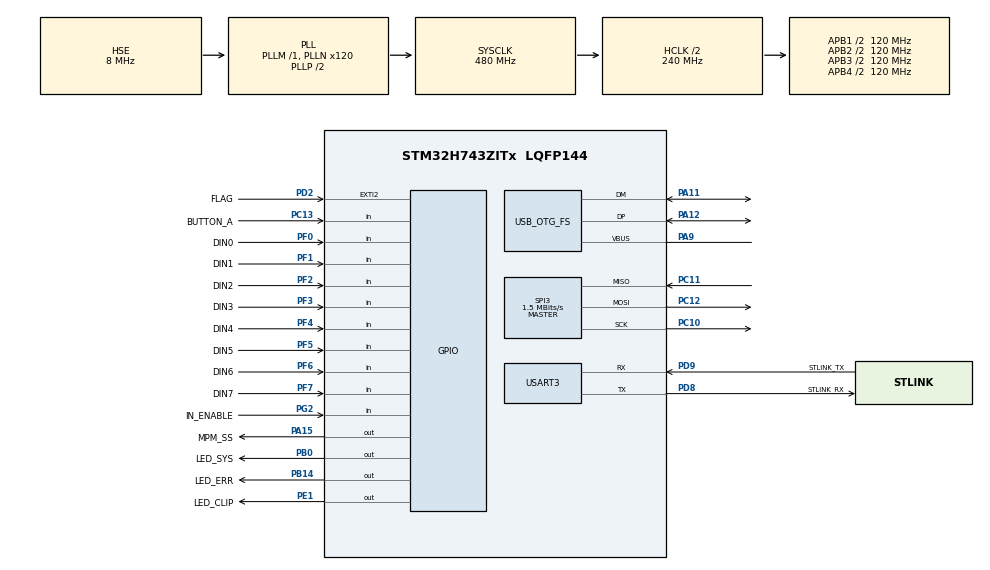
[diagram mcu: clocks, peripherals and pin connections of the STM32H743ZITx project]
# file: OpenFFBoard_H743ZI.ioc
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CORTEX_M7.CPU_DCache=Enabled
CORTEX_M7.CPU_ICache=Enabled
FREERTOS.Tasks01=defaultTask,16,1024,StartDefaultTask,As weak,NULL,Dynamic,NULL,NULL
FREERTOS.configCHECK_FOR_STACK_OVERFLOW=2
FREERTOS.configENABLE_FPU=1
FREERTOS.configGENERATE_RUN_TIME_STATS=0
FREERTOS.configRECORD_STACK_HIGH_ADDRESS=1
FREERTOS.configTOTAL_HEAP_SIZE=0xffff
FREERTOS.configUSE_IDLE_HOOK=1
FREERTOS.configUSE_MALLOC_FAILED_HOOK=1
FREERTOS.configUSE_NEWLIB_REENTRANT=1
Mcu.Family=STM32H7
Mcu.Name=STM32H743ZITx
Mcu.Package=LQFP144
NVIC.EXTI2_IRQn=true\:13\:0\:true\:false\:true\:true\:true\:true\:true
NVIC.OTG_FS_IRQn=true\:14\:0\:true\:false\:true\:true\:true\:false\:true
NVIC.PriorityGroup=NVIC_PRIORITYGROUP_4
NVIC.SPI3_IRQn=true\:5\:0\:false\:false\:true\:true\:true\:true\:true
NVIC.TIM7_IRQn=true\:4\:0\:true\:false\:true\:false\:false\:true\:true
NVIC.TimeBase=TIM7_IRQn
NVIC.TimeBaseIP=TIM7
NVIC.USART3_IRQn=true\:7\:0\:true\:false\:true\:true\:true\:true\:true
PA11.GPIO_Speed=GPIO_SPEED_FREQ_HIGH
PA11.Mode=Device_Only
PA11.Signal=USB_OTG_FS_DM
PA12.GPIO_Speed=GPIO_SPEED_FREQ_HIGH
PA12.Mode=Device_Only
PA12.Signal=USB_OTG_FS_DP
PA13\ (JTMS/SWDIO).Mode=Trace_Asynchronous_SW
PA13\ (JTMS/SWDIO).Signal=DEBUG_JTMS-SWDIO
PA14\ (JTCK/SWCLK).Mode=Trace_Asynchronous_SW
PA14\ (JTCK/SWCLK).Signal=DEBUG_JTCK-SWCLK
PA15\ (JTDI).GPIO_Label=MPM_SS
PA15\ (JTDI).GPIO_Speed=GPIO_SPEED_FREQ_VERY_HIGH
PA15\ (JTDI).Signal=GPIO_Output
PA9.Mode=Activate_VBUS
PA9.Signal=USB_OTG_FS_VBUS
PB0.GPIO_Label=LED_SYS
PB0.Signal=GPIO_Output
PB14.GPIO_Label=LED_ERR
PB14.Signal=GPIO_Output
PB3\ (JTDO/TRACESWO).Mode=Trace_Asynchronous_SW
PB3\ (JTDO/TRACESWO).Signal=DEBUG_JTDO-SWO
PC10.GPIO_Speed=GPIO_SPEED_FREQ_VERY_HIGH
PC10.Mode=Full_Duplex_Master
PC10.Signal=SPI3_SCK
PC11.GPIO_Speed=GPIO_SPEED_FREQ_VERY_HIGH
PC11.Mode=Full_Duplex_Master
PC11.Signal=SPI3_MISO
PC12.GPIO_Speed=GPIO_SPEED_FREQ_VERY_HIGH
PC12.Mode=Full_Duplex_Master
PC12.Signal=SPI3_MOSI
PC13.GPIO_Label=BUTTON_A
PC13.GPIO_PuPd=GPIO_PULLDOWN
PC13.Signal=GPIO_Input
PD2.GPIO_Label=FLAG
PD2.Signal=GPXTI2
PD8.GPIO_Label=STLINK_RX
PD8.GPIO_Speed=GPIO_SPEED_FREQ_HIGH
PD8.Mode=Asynchronous
PD8.Signal=USART3_TX
PD9.GPIO_Label=STLINK_TX
PD9.GPIO_Speed=GPIO_SPEED_FREQ_HIGH
PD9.Mode=Asynchronous
PD9.Signal=USART3_RX
PE1.GPIO_Label=LED_CLIP
PE1.Signal=GPIO_Output
PF0.GPIO_Label=DIN0
PF0.GPIO_PuPd=GPIO_PULLUP
PF0.Signal=GPIO_Input
PF1.GPIO_Label=DIN1
PF1.GPIO_PuPd=GPIO_PULLUP
PF1.Signal=GPIO_Input
PF2.GPIO_Label=DIN2
PF2.GPIO_PuPd=GPIO_PULLUP
PF2.Signal=GPIO_Input
PF3.GPIO_Label=DIN3
PF3.GPIO_PuPd=GPIO_PULLUP
PF3.Signal=GPIO_Input
PF4.GPIO_Label=DIN4
PF4.GPIO_PuPd=GPIO_PULLUP
PF4.Signal=GPIO_Input
PF5.GPIO_Label=DIN5
PF5.GPIO_PuPd=GPIO_PULLUP
PF5.Signal=GPIO_Input
PF6.GPIO_Label=DIN6
PF6.GPIO_PuPd=GPIO_PULLUP
PF6.Signal=GPIO_Input
PF7.GPIO_Label=DIN7
PF7.GPIO_PuPd=GPIO_PULLUP
PF7.Signal=GPIO_Input
PG2.GPIO_Label=IN_ENABLE
PG2.GPIO_PuPd=GPIO_PULLUP
PG2.Signal=GPIO_Input
PH0-OSC_IN\ (PH0).Mode=HSE-External-Clock-Source
PH0-OSC_IN\ (PH0).Signal=RCC_OSC_IN
ProjectManager.HeapSize=0x400
ProjectManager.StackSize=0x400
ProjectManager.TargetToolchain=STM32CubeIDE
RCC.ADCFreq_Value=80000000
RCC.APB1Freq_Value=120000000
RCC.APB2Freq_Value=120000000
RCC.APB3Freq_Value=120000000
RCC.APB4Freq_Value=120000000
RCC.CortexFreq_Value=480000000
RCC.D1PPRE=RCC_APB3_DIV2
RCC.D2PPRE1=RCC_APB1_DIV2
RCC.D2PPRE2=RCC_APB2_DIV2
RCC.D3PPRE=RCC_APB4_DIV2
RCC.DIVM1=1
RCC.DIVM2=1
RCC.DIVN1=120
RCC.DIVN2=40
RCC.DIVP2=4
RCC.DIVQ1=20
RCC.DIVQ2=4
RCC.HCLKFreq_Value=240000000
RCC.HPRE=RCC_HCLK_DIV2
RCC.HSE_VALUE=8000000
RCC.SYSCLKFreq_VALUE=480000000
RCC.SYSCLKSource=RCC_SYSCLKSOURCE_PLLCLK
RCC.USBFreq_Value=48000000
SPI3.BaudRatePrescaler=SPI_BAUDRATEPRESCALER_32
SPI3.CLKPhase=SPI_PHASE_2EDGE
SPI3.CLKPolarity=SPI_POLARITY_HIGH
SPI3.CalculateBaudRate=1.5 MBits/s
SPI3.DataSize=SPI_DATASIZE_16BIT
SPI3.Direction=SPI_DIRECTION_2LINES
SPI3.Mode=SPI_MODE_MASTER
SPI3.VirtualType=VM_MASTER
USART3.VirtualMode-Asynchronous=VM_ASYNC
USB_OTG_FS.VirtualMode=Device_Only
USB_OTG_FS.battery_charging_enable=DISABLE
VP_FREERTOS_VS_CMSIS_V2.Mode=CMSIS_V2
VP_SYS_VS_tim7.Mode=TIM7
board=NUCLEO-H743ZI2

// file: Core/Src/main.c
/* USER CODE BEGIN Header */
/**
  ******************************************************************************
  * @file           : main.c
  * @brief          : Main program body
  ******************************************************************************
  * @attention
  *
  * <h2><center>&copy; Copyright (c) 2021 STMicroelectronics.
  * All rights reserved.</center></h2>
  *
  * This software component is licensed by ST under BSD 3-Clause license,
  * the "License"; You may not use this file except in compliance with the
  * License. You may obtain a copy of the License at:
  *                        opensource.org/licenses/BSD-3-Clause
  *
  ******************************************************************************
  */
/* USER CODE END Header */
#include "main.h"
#include "cmsis_os.h"

/* USER CODE BEGIN Includes */
#include "global_callbacks.h"
#include "cppmain.h"
extern void cppmain();
/* USER CODE END Includes */

SPI_HandleTypeDef hspi3;

UART_HandleTypeDef huart3;

PCD_HandleTypeDef hpcd_USB_OTG_FS;

/* Definitions for defaultTask */
osThreadId_t defaultTaskHandle;
const osThreadAttr_t defaultTask_attributes = {
  .name = "defaultTask",
  .stack_size = 1024 * 4,
  .priority = (osPriority_t) osPriorityBelowNormal,
};
/* USER CODE BEGIN PV */
__attribute__((weak)) void cppmain(){
	Error_Handler();
}
/* USER CODE END PV */

void SystemClock_Config(void);
static void MX_GPIO_Init(void);
static void MX_USART3_UART_Init(void);
static void MX_SPI3_Init(void);
void StartDefaultTask(void *argument);

int main(void)
{

  /* Enable I-Cache---------------------------------------------------------*/
  SCB_EnableICache();

  /* Enable D-Cache---------------------------------------------------------*/
  SCB_EnableDCache();

  /* MCU Configuration--------------------------------------------------------*/

  /* Reset of all peripherals, Initializes the Flash interface and the Systick. */
  HAL_Init();

  /* Configure the system clock */
  SystemClock_Config();

  /* Initialize all configured peripherals */
  MX_GPIO_Init();
  MX_USART3_UART_Init();
  MX_SPI3_Init();
  /* USER CODE BEGIN 2 */
  HAL_GPIO_WritePin(LED_ERR_GPIO_Port, LED_ERR_Pin, GPIO_PIN_SET);
  MX_USB_OTG_FS_PCD_Init();
  HAL_Delay(100);
  /* USER CODE END 2 */

  /* Init scheduler */
  osKernelInitialize();

  /* Create the thread(s) */
  /* creation of defaultTask */
  defaultTaskHandle = osThreadNew(StartDefaultTask, NULL, &defaultTask_attributes);

  /* Start scheduler */
  osKernelStart();

  /* We should never get here as control is now taken by the scheduler */
  /* Infinite loop */
  while (1)
  {

  }
}

void SystemClock_Config(void)
{
  RCC_OscInitTypeDef RCC_OscInitStruct = {0};
  RCC_ClkInitTypeDef RCC_ClkInitStruct = {0};

  /** Supply configuration update enable
  */
  HAL_PWREx_ConfigSupply(PWR_LDO_SUPPLY);

  /** Configure the main internal regulator output voltage
  */
  __HAL_PWR_VOLTAGESCALING_CONFIG(PWR_REGULATOR_VOLTAGE_SCALE1);

  while(!__HAL_PWR_GET_FLAG(PWR_FLAG_VOSRDY)) {}

  __HAL_RCC_SYSCFG_CLK_ENABLE();
  __HAL_PWR_VOLTAGESCALING_CONFIG(PWR_REGULATOR_VOLTAGE_SCALE0);

  while(!__HAL_PWR_GET_FLAG(PWR_FLAG_VOSRDY)) {}

  /** Initializes the RCC Oscillators according to the specified parameters
  * in the RCC_OscInitTypeDef structure.
  */
  RCC_OscInitStruct.OscillatorType = RCC_OSCILLATORTYPE_HSE;
  RCC_OscInitStruct.HSEState = RCC_HSE_BYPASS;
  RCC_OscInitStruct.PLL.PLLState = RCC_PLL_ON;
  RCC_OscInitStruct.PLL.PLLSource = RCC_PLLSOURCE_HSE;
  RCC_OscInitStruct.PLL.PLLM = 1;
  RCC_OscInitStruct.PLL.PLLN = 120;
  RCC_OscInitStruct.PLL.PLLP = 2;
  RCC_OscInitStruct.PLL.PLLQ = 20;
  RCC_OscInitStruct.PLL.PLLR = 2;
  RCC_OscInitStruct.PLL.PLLRGE = RCC_PLL1VCIRANGE_3;
  RCC_OscInitStruct.PLL.PLLVCOSEL = RCC_PLL1VCOWIDE;
  RCC_OscInitStruct.PLL.PLLFRACN = 0;
  if (HAL_RCC_OscConfig(&RCC_OscInitStruct) != HAL_OK)
  {
    Error_Handler();
  }

  /** Initializes the CPU, AHB and APB buses clocks
  */
  RCC_ClkInitStruct.ClockType = RCC_CLOCKTYPE_HCLK|RCC_CLOCKTYPE_SYSCLK
                              |RCC_CLOCKTYPE_PCLK1|RCC_CLOCKTYPE_PCLK2
                              |RCC_CLOCKTYPE_D3PCLK1|RCC_CLOCKTYPE_D1PCLK1;
  RCC_ClkInitStruct.SYSCLKSource = RCC_SYSCLKSOURCE_PLLCLK;
  RCC_ClkInitStruct.SYSCLKDivider = RCC_SYSCLK_DIV1;
  RCC_ClkInitStruct.AHBCLKDivider = RCC_HCLK_DIV2;
  RCC_ClkInitStruct.APB3CLKDivider = RCC_APB3_DIV2;
  RCC_ClkInitStruct.APB1CLKDivider = RCC_APB1_DIV2;
  RCC_ClkInitStruct.APB2CLKDivider = RCC_APB2_DIV2;
  RCC_ClkInitStruct.APB4CLKDivider = RCC_APB4_DIV2;

  if (HAL_RCC_ClockConfig(&RCC_ClkInitStruct, FLASH_LATENCY_4) != HAL_OK)
  {
    Error_Handler();
  }
}

static void MX_SPI3_Init(void)
{

  /* SPI3 parameter configuration*/
  hspi3.Instance = SPI3;
  hspi3.Init.Mode = SPI_MODE_MASTER;
  hspi3.Init.Direction = SPI_DIRECTION_2LINES;
  hspi3.Init.DataSize = SPI_DATASIZE_16BIT;
  hspi3.Init.CLKPolarity = SPI_POLARITY_HIGH;
  hspi3.Init.CLKPhase = SPI_PHASE_2EDGE;
  hspi3.Init.NSS = SPI_NSS_SOFT;
  hspi3.Init.BaudRatePrescaler = SPI_BAUDRATEPRESCALER_32;
  hspi3.Init.FirstBit = SPI_FIRSTBIT_MSB;
  hspi3.Init.TIMode = SPI_TIMODE_DISABLE;
  hspi3.Init.CRCCalculation = SPI_CRCCALCULATION_DISABLE;
  hspi3.Init.CRCPolynomial = 0x0;
  hspi3.Init.NSSPMode = SPI_NSS_PULSE_ENABLE;
  hspi3.Init.NSSPolarity = SPI_NSS_POLARITY_LOW;
  hspi3.Init.FifoThreshold = SPI_FIFO_THRESHOLD_01DATA;
  hspi3.Init.TxCRCInitializationPattern = SPI_CRC_INITIALIZATION_ALL_ZERO_PATTERN;
  hspi3.Init.RxCRCInitializationPattern = SPI_CRC_INITIALIZATION_ALL_ZERO_PATTERN;
  hspi3.Init.MasterSSIdleness = SPI_MASTER_SS_IDLENESS_00CYCLE;
  hspi3.Init.MasterInterDataIdleness = SPI_MASTER_INTERDATA_IDLENESS_00CYCLE;
  hspi3.Init.MasterReceiverAutoSusp = SPI_MASTER_RX_AUTOSUSP_DISABLE;
  hspi3.Init.MasterKeepIOState = SPI_MASTER_KEEP_IO_STATE_DISABLE;
  hspi3.Init.IOSwap = SPI_IO_SWAP_DISABLE;
  if (HAL_SPI_Init(&hspi3) != HAL_OK)
  {
    Error_Handler();
  }

}

static void MX_USART3_UART_Init(void)
{

  huart3.Instance = USART3;
  huart3.Init.BaudRate = 115200;
  huart3.Init.WordLength = UART_WORDLENGTH_8B;
  huart3.Init.StopBits = UART_STOPBITS_1;
  huart3.Init.Parity = UART_PARITY_NONE;
  huart3.Init.Mode = UART_MODE_TX_RX;
  huart3.Init.HwFlowCtl = UART_HWCONTROL_NONE;
  huart3.Init.OverSampling = UART_OVERSAMPLING_16;
  huart3.Init.OneBitSampling = UART_ONE_BIT_SAMPLE_DISABLE;
  huart3.Init.ClockPrescaler = UART_PRESCALER_DIV1;
  huart3.AdvancedInit.AdvFeatureInit = UART_ADVFEATURE_NO_INIT;
  if (HAL_UART_Init(&huart3) != HAL_OK)
  {
    Error_Handler();
  }
  if (HAL_UARTEx_SetTxFifoThreshold(&huart3, UART_TXFIFO_THRESHOLD_1_8) != HAL_OK)
  {
    Error_Handler();
  }
  if (HAL_UARTEx_SetRxFifoThreshold(&huart3, UART_RXFIFO_THRESHOLD_1_8) != HAL_OK)
  {
    Error_Handler();
  }
  if (HAL_UARTEx_DisableFifoMode(&huart3) != HAL_OK)
  {
    Error_Handler();
  }

}

void MX_USB_OTG_FS_PCD_Init(void)
{

  hpcd_USB_OTG_FS.Instance = USB_OTG_FS;
  hpcd_USB_OTG_FS.Init.dev_endpoints = 9;
  hpcd_USB_OTG_FS.Init.speed = PCD_SPEED_FULL;
  hpcd_USB_OTG_FS.Init.dma_enable = DISABLE;
  hpcd_USB_OTG_FS.Init.phy_itface = PCD_PHY_EMBEDDED;
  hpcd_USB_OTG_FS.Init.Sof_enable = DISABLE;
  hpcd_USB_OTG_FS.Init.low_power_enable = DISABLE;
  hpcd_USB_OTG_FS.Init.lpm_enable = DISABLE;
  hpcd_USB_OTG_FS.Init.battery_charging_enable = DISABLE;
  hpcd_USB_OTG_FS.Init.vbus_sensing_enable = ENABLE;
  hpcd_USB_OTG_FS.Init.use_dedicated_ep1 = DISABLE;
  if (HAL_PCD_Init(&hpcd_USB_OTG_FS) != HAL_OK)
  {
    Error_Handler();
  }

}

static void MX_GPIO_Init(void)
{
  GPIO_InitTypeDef GPIO_InitStruct = {0};

  /* GPIO Ports Clock Enable */
  __HAL_RCC_GPIOC_CLK_ENABLE();
  __HAL_RCC_GPIOF_CLK_ENABLE();
  __HAL_RCC_GPIOH_CLK_ENABLE();
  __HAL_RCC_GPIOB_CLK_ENABLE();
  __HAL_RCC_GPIOD_CLK_ENABLE();
  __HAL_RCC_GPIOG_CLK_ENABLE();
  __HAL_RCC_GPIOA_CLK_ENABLE();
  __HAL_RCC_GPIOE_CLK_ENABLE();

  /*Configure GPIO pin Output Level */
  HAL_GPIO_WritePin(GPIOB, LED_SYS_Pin|LED_ERR_Pin, GPIO_PIN_RESET);

  /*Configure GPIO pin Output Level */
  HAL_GPIO_WritePin(MPM_SS_GPIO_Port, MPM_SS_Pin, GPIO_PIN_RESET);

  /*Configure GPIO pin Output Level */
  HAL_GPIO_WritePin(LED_CLIP_GPIO_Port, LED_CLIP_Pin, GPIO_PIN_RESET);

  /*Configure GPIO pin : BUTTON_A_Pin */
  GPIO_InitStruct.Pin = BUTTON_A_Pin;
  GPIO_InitStruct.Mode = GPIO_MODE_INPUT;
  GPIO_InitStruct.Pull = GPIO_PULLDOWN;
  HAL_GPIO_Init(BUTTON_A_GPIO_Port, &GPIO_InitStruct);

  /*Configure GPIO pins : DIN0_Pin DIN1_Pin DIN2_Pin DIN3_Pin
                           DIN4_Pin DIN5_Pin DIN6_Pin DIN7_Pin */
  GPIO_InitStruct.Pin = DIN0_Pin|DIN1_Pin|DIN2_Pin|DIN3_Pin
                          |DIN4_Pin|DIN5_Pin|DIN6_Pin|DIN7_Pin;
  GPIO_InitStruct.Mode = GPIO_MODE_INPUT;
  GPIO_InitStruct.Pull = GPIO_PULLUP;
  HAL_GPIO_Init(GPIOF, &GPIO_InitStruct);

  /*Configure GPIO pins : LED_SYS_Pin LED_ERR_Pin */
  GPIO_InitStruct.Pin = LED_SYS_Pin|LED_ERR_Pin;
  GPIO_InitStruct.Mode = GPIO_MODE_OUTPUT_PP;
  GPIO_InitStruct.Pull = GPIO_NOPULL;
  GPIO_InitStruct.Speed = GPIO_SPEED_FREQ_LOW;
  HAL_GPIO_Init(GPIOB, &GPIO_InitStruct);

  /*Configure GPIO pin : IN_ENABLE_Pin */
  GPIO_InitStruct.Pin = IN_ENABLE_Pin;
  GPIO_InitStruct.Mode = GPIO_MODE_INPUT;
  GPIO_InitStruct.Pull = GPIO_PULLUP;
  HAL_GPIO_Init(IN_ENABLE_GPIO_Port, &GPIO_InitStruct);

  /*Configure GPIO pin : MPM_SS_Pin */
  GPIO_InitStruct.Pin = MPM_SS_Pin;
  GPIO_InitStruct.Mode = GPIO_MODE_OUTPUT_PP;
  GPIO_InitStruct.Pull = GPIO_NOPULL;
  GPIO_InitStruct.Speed = GPIO_SPEED_FREQ_VERY_HIGH;
  HAL_GPIO_Init(MPM_SS_GPIO_Port, &GPIO_InitStruct);

  /*Configure GPIO pin : FLAG_Pin */
  GPIO_InitStruct.Pin = FLAG_Pin;
  GPIO_InitStruct.Mode = GPIO_MODE_IT_RISING;
  GPIO_InitStruct.Pull = GPIO_NOPULL;
  HAL_GPIO_Init(FLAG_GPIO_Port, &GPIO_InitStruct);

  /*Configure GPIO pin : LED_CLIP_Pin */
  GPIO_InitStruct.Pin = LED_CLIP_Pin;
  GPIO_InitStruct.Mode = GPIO_MODE_OUTPUT_PP;
  GPIO_InitStruct.Pull = GPIO_NOPULL;
  GPIO_InitStruct.Speed = GPIO_SPEED_FREQ_LOW;
  HAL_GPIO_Init(LED_CLIP_GPIO_Port, &GPIO_InitStruct);

  /* EXTI interrupt init*/
  HAL_NVIC_SetPriority(EXTI2_IRQn, 13, 0);
  HAL_NVIC_EnableIRQ(EXTI2_IRQn);

}

/* USER CODE BEGIN 4 */
void RebootDFU(void) {
	*((unsigned long *)0x2001FFF0) = 0xDEADBEEF; // bkpsram. see startup assembly for jumps
	NVIC_SystemReset();
}
/* USER CODE END 4 */

__weak void StartDefaultTask(void *argument)
{
  /* USER CODE BEGIN 5 */
	HAL_GPIO_WritePin(LED_ERR_GPIO_Port, LED_ERR_Pin, GPIO_PIN_RESET);
	HAL_GPIO_WritePin(LED_CLIP_GPIO_Port, LED_CLIP_Pin, GPIO_PIN_RESET);
	HAL_GPIO_WritePin(LED_SYS_GPIO_Port, LED_SYS_Pin, GPIO_PIN_RESET);
  /* Infinite loop */
  for(;;)
  {
	  cppmain();
  }
  /* USER CODE END 5 */
}

void HAL_TIM_PeriodElapsedCallback(TIM_HandleTypeDef *htim)
{
  if (htim->Instance == TIM7) {
    HAL_IncTick();
  }
  /* USER CODE BEGIN Callback 1 */
  else{
	  HAL_TIM_PeriodElapsedCallback_CPP(htim);
  }
  /* USER CODE END Callback 1 */
}

void Error_Handler(void)
{
  /* USER CODE BEGIN Error_Handler_Debug */
	HAL_GPIO_WritePin(LED_ERR_GPIO_Port, LED_ERR_Pin, GPIO_PIN_RESET);

  /* User can add his own implementation to report the HAL error return state */
  __disable_irq();
  while (1)
  {
  }
  /* USER CODE END Error_Handler_Debug */
}

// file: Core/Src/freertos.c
/* USER CODE BEGIN Header */
/**
  ******************************************************************************
  * File Name          : freertos.c
  * Description        : Code for freertos applications
  ******************************************************************************
  * @attention
  *
  * <h2><center>&copy; Copyright (c) 2021 STMicroelectronics.
  * All rights reserved.</center></h2>
  *
  * This software component is licensed by ST under Ultimate Liberty license
  * SLA0044, the "License"; You may not use this file except in compliance with
  * the License. You may obtain a copy of the License at:
  *                             www.st.com/SLA0044
  *
  ******************************************************************************
  */
/* USER CODE END Header */

#include "FreeRTOS.h"
#include "task.h"
#include "main.h"

/* USER CODE BEGIN Includes */
#include "ledEffects.h"
#include "FreeRTOSConfig.h"
/* USER CODE END Includes */

/* USER CODE BEGIN Variables */
uint8_t ucHeap[ configTOTAL_HEAP_SIZE ];
/* USER CODE END Variables */

/* Hook prototypes */
void vApplicationIdleHook(void);
void vApplicationStackOverflowHook(xTaskHandle xTask, signed char *pcTaskName);
void vApplicationMallocFailedHook(void);

/* USER CODE BEGIN 2 */
void vApplicationIdleHook( void )
{
   /* vApplicationIdleHook() will only be called if configUSE_IDLE_HOOK is set
   to 1 in FreeRTOSConfig.h. It will be called on each iteration of the idle
   task. It is essential that code added to this hook function never attempts
   to block in any way (for example, call xQueueReceive() with a block time
   specified, or call vTaskDelay()). If the application makes use of the
   vTaskDelete() API function (as this demo application does) then it is also
   important that vApplicationIdleHook() is permitted to return to its calling
   function, because it is the responsibility of the idle task to clean up
   memory allocated by the kernel to any task that has since been deleted. */
}
/* USER CODE END 2 */

/* USER CODE BEGIN 4 */
void vApplicationStackOverflowHook(xTaskHandle xTask, signed char *pcTaskName)
{
   /* Run time stack overflow checking is performed if
   configCHECK_FOR_STACK_OVERFLOW is defined to 1 or 2. This hook function is
   called if a stack overflow is detected. */
	Error_Handler();
}
/* USER CODE END 4 */

/* USER CODE BEGIN 5 */
void vApplicationMallocFailedHook(void)
{
   /* vApplicationMallocFailedHook() will only be called if
   configUSE_MALLOC_FAILED_HOOK is set to 1 in FreeRTOSConfig.h. It is a hook
   function that will get called if a call to pvPortMalloc() fails.
   pvPortMalloc() is called internally by the kernel whenever a task, queue,
   timer or semaphore is created. It is also called by various parts of the
   demo application. If heap_1.c or heap_2.c are used, then the size of the
   heap available to pvPortMalloc() is defined by configTOTAL_HEAP_SIZE in
   FreeRTOSConfig.h, and the xPortGetFreeHeapSize() API function can be used
   to query the size of free heap space that remains (although it does not
   provide information on how the remaining heap might be fragmented). */
	taskDISABLE_INTERRUPTS();
}
/* USER CODE END 5 */
